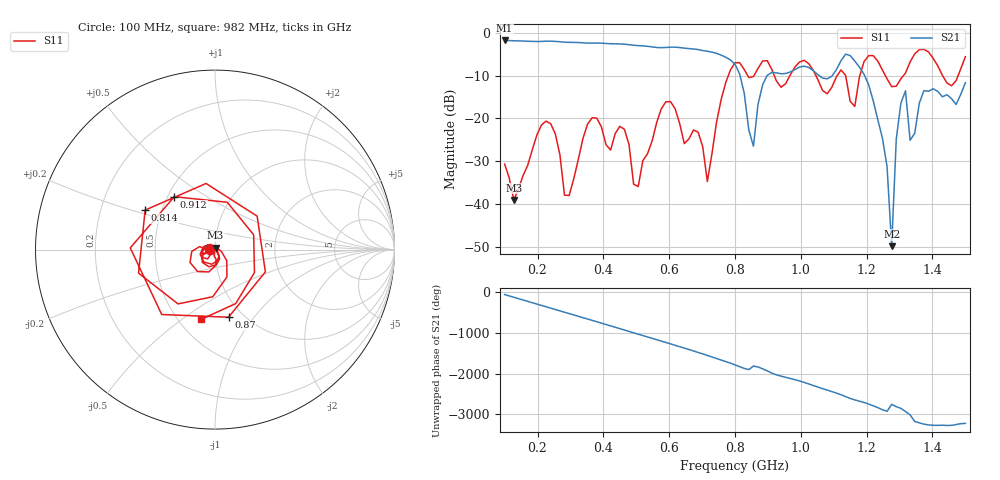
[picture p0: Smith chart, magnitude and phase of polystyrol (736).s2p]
! NanoVNA-App
! Date: 2025-09-25 15:35:36
! Start: 100MHz Stop: 1,5GHz Points: 101
! S-Parameter data: F S11 S21 S12 S22
# Hz S RI R 50
!  Frequency  S11_Real  S11_Imag  S21_Real  S21_Imag  S12_Real  S12_Imag  S22_Real  S22_Imag
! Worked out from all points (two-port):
!   101 points, 100 MHz to 1.5 GHz, reference 50 ohm
!   highest |S21| = -1.80 dB at 100 MHz (marker M1); lowest = -49.9 dB at 1.276 GHz (marker M2)
!   |S21| within 3 dB of the highest: start of sweep to 743.3 MHz
!   lowest |S11| = -39.1 dB at 128 MHz (marker M3), VSWR 1.02, Z = 50.3 + j1.06 ohm
!   |S11| at or under -10 dB: start of sweep to 779.8 MHz; 1.046 GHz to 1.111 GHz (65.16 MHz wide, 6.04 % of centre); 1.257 GHz to 1.312 GHz (55.23 MHz wide, 4.3 % of centre) (the widest 3 of 7)
!   S12 and S22 are empty: the file has one direction only
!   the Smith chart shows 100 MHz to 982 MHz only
!   S11 on the Smith chart (normalised r, x): 100 MHz: 0.94, -0.01; 814 MHz: 0.40, +0.22; 870 MHz: 0.85, -0.76; 912 MHz: 0.54, +0.37; 982 MHz: 0.64, -0.59
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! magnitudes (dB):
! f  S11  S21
! 100 MHz  -30.7  -1.8
! 128 MHz  -39.1  -1.9
! 212 MHz  -21.6  -2.0
! 282 MHz  -38.0  -2.2
! 338 MHz  -24.7  -2.3
! 506 MHz  -36.0  -3.0
! 576 MHz  -17.8  -3.5
! 716 MHz  -34.8  -4.3
! 800 MHz  -7.0  -7.4
! 814 MHz  -7.0  -9.6
! 856 MHz  -10.3  -26.5
! 870 MHz  -8.3  -16.7
! 912 MHz  -8.6  -9.3
! 982 MHz  -8.0  -8.6
! 1.038 GHz  -8.8  -8.9
! 1.192 GHz  -6.8  -9.7
! 1.262 GHz  -10.8  -31.3
! 1.276 GHz  -12.6  -49.9
! 1.29 GHz  -12.5  -24.9
! 1.318 GHz  -9.4  -13.6
! 1.332 GHz  -6.8  -25.1
! 1.5 GHz  -5.6  -11.7
